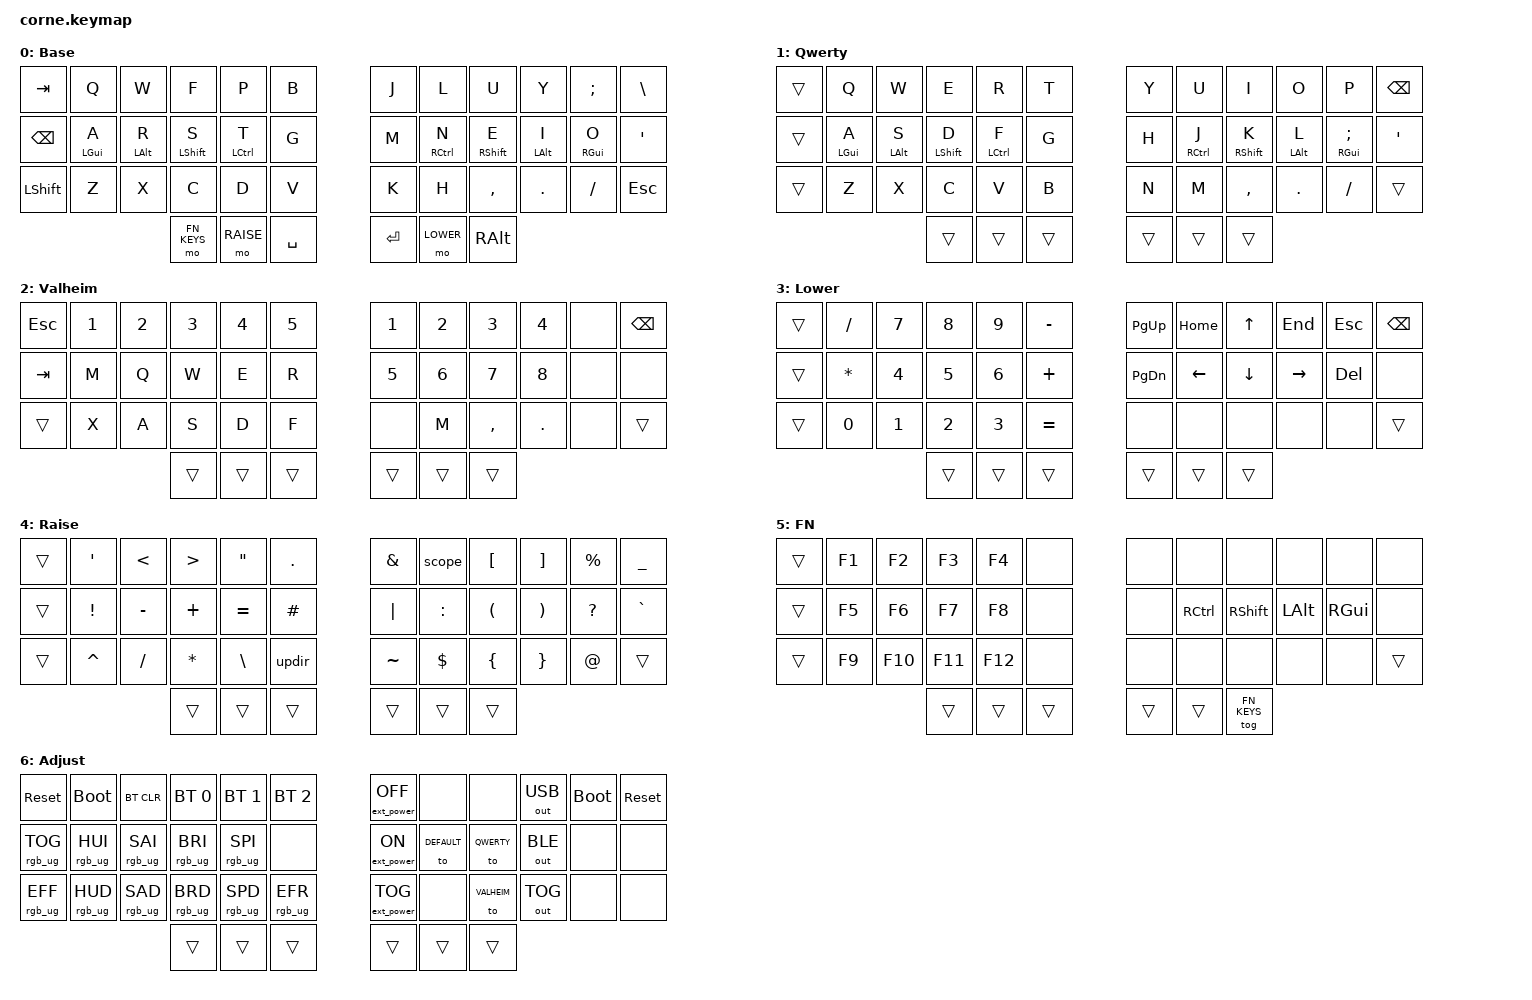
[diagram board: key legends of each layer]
/*
 * Copyright (c) 2020 The ZMK Contributors
 *
 * SPDX-License-Identifier: MIT
 */

#include <behaviors.dtsi>
#include <dt-bindings/zmk/keys.h>
#include <dt-bindings/zmk/bt.h>
#include <dt-bindings/zmk/rgb.h>
#include <dt-bindings/zmk/ext_power.h>
#include <dt-bindings/zmk/outputs.h>


/*
 * Temporarily here because nice nano v2 spi is not defined on ZMk Yet
 * Source: https://github.com/zmkfirmware/zmk/blob/main/app/boards/shields/corne/boards/nice_nano.overlay
 * GitHub Issue: https://github.com/zmkfirmware/zmk/issues/885
 */

// #include <dt-bindings/led/led.h>
// 
// &spi1 {
// 	compatible = "nordic,nrf-spim";
// 	/* Cannot be used together with i2c0. */
// 	status = "okay";
// 	mosi-pin = <6>;
// 	// Unused pins, needed for SPI definition, but not used by the ws2812 driver itself.
// 	sck-pin = <5>;
// 	miso-pin = <7>;
// 
// 	led_strip: ws2812@0 {
// 		compatible = "worldsemi,ws2812-spi";
// 		label = "SK6812mini";
// 
// 		/* SPI */
// 		reg = <0>; /* ignored, but necessary for SPI bindings */
// 		spi-max-frequency = <4000000>;
// 
// 		/* WS2812 */
// 		chain-length = <6>; /* There are per-key RGB, but the first 6 are underglow */
// 		spi-one-frame = <0x70>;
// 		spi-zero-frame = <0x40>;
// 
// 		color-mapping = <LED_COLOR_ID_GREEN LED_COLOR_ID_RED LED_COLOR_ID_BLUE>;
// 	};
// };
// 
// / {
// 	chosen {
// 		zmk,underglow = &led_strip;
// 	};
// };

/*
 * End of temmporary code
 */


#define DEFAULT 0
#define QWERTY  1
#define VALHEIM 2
#define LOWER   3
#define RAISE   4
#define FN_KEYS 5
#define ADJUST  6

// #define MO_TOG(layer) &mo_tog layer layer   // Macro to apply momentary-layer-on-hold/toggle-layer-on-tap to a specific layer

&caps_word {
    continue-list = <UNDERSCORE BACKSPACE DELETE>;
};

/ {
        combos {
                compatible = "zmk,combos";

                combo_caps {
                        timeout-ms = <30>;
                        key-positions = <15 20>;
                        bindings = <&caps_word>;
                };
        };

        macros {
                updir: updir {
                        compatible = "zmk,behavior-macro";
                        #binding-cells = <0>;
                        wait-ms = <30>;
                        tap-ms = <40>;
                        bindings = <&kp DOT &kp DOT &kp FSLH>;
                };
                scope: scope {
                        compatible = "zmk,behavior-macro";
                        #binding-cells = <0>;
                        wait-ms = <30>;
                        tap-ms = <40>;
                        bindings = <&kp COLON &kp COLON>;
                };
        };

        behaviors {
                hm: homerow_mods {
                        compatible = "zmk,behavior-hold-tap";
                        #binding-cells = <2>;
                        tapping-term-ms = <205>;
                        quick-tap-ms = <0>;
                        flavor = "tap-preferred";
                        bindings = <&kp>, <&kp>;
                };

                // kp_tog: behavior_kp_tog {
                //         compatible = "zmk,behavior-hold-tap";
                //         #binding-cells = <2>;
                //         tapping-term-ms = <200>;
                //         flavor = "hold-preferred";
                //         bindings = <&kp>, <&tog>;
                // };

                // mo_tog: behavior_mo_tog {
                //         compatible = "zmk,behavior-hold-tap";
                //         #binding-cells = <2>;
                //         flavor = "hold-preferred";
                //         tapping-term-ms = <200>;
                //         bindings = <&mo>, <&tog>;
                // };

        };

        keymap {
                compatible = "zmk,keymap";

                base {
// -----------------------------------------------------------------------------------------
// |  TAB |  Q  |  W  |  F  |  P  |  B  |   |  J  |  L   |  U  |  Y  |  ;  |  \   |
// | BSPC |  A  |  R  |  S  |  T  |  G  |   |  M  |  N   |  E  |  I  |  O  |  '   |
// | SHFT |  Z  |  X  |  C  |  D  |  V  |   |  K  |  H   |  ,  |  .  |  /  | ESC  |
//                   | CTRL | RSE | SPC |   | ENT | LWR  | RALT |
                        display-name = "Base";
                        bindings = <
   &kp TAB   &kp      Q &kp      W &kp        F &kp       P &kp B       &kp J   &kp       L  &kp        U &kp      Y &kp   SEMI &kp BSLH
   &kp BSPC  &hm LGUI A &hm LALT R &hm LSHIFT S &hm LCTRL T &kp G       &kp M   &hm RCTRL N  &hm RSHIFT E &hm LALT I &hm RGUI O &kp SQT
   &kp LSHFT &kp      Z &kp      X &kp        C &kp       D &kp V       &kp K   &kp       H  &kp    COMMA &kp    DOT &kp   FSLH &kp ESC
                                   &mo  FN_KEYS &mo   RAISE &kp SPACE   &kp RET &mo LOWER    &kp     RALT     
                        >;
                };

                qwerty {
// ----------------------------------------------------------------------------------------
// |      |  Q  |  W  |  E  |  R  |  T  |   |  Y  |  U  |  I  |  O  |  P  | BKSP |
// |      |  A  |  S  |  D  |  F  |  G  |   |  H  |  J  |  K  |  L  |  ;  |  '   |
// |      |  Z  |  X  |  C  |  V  |  B  |   |  N  |  M  |  ,  |  .  |  /  | ESC  |
//                    |     |     |     |   |     |     |     |
                        display-name = "Qwerty";
                        bindings = <
   &trans &kp Q      &kp W      &kp E        &kp R       &kp T   &kp Y &kp U       &kp I        &kp O      &kp P         &kp BSPC
   &trans &hm LGUI A &hm LALT S &hm LSHIFT D &hm LCTRL F &kp G   &kp H &hm RCTRL J &hm RSHIFT K &hm LALT L &hm RGUI SEMI &kp SQT
   &trans &kp Z      &kp X      &kp C        &kp V       &kp B   &kp N &kp M       &kp COMMA    &kp DOT    &kp FSLH      &trans
                   &trans &trans &trans   &trans &trans &trans
                        >;
                };

                valheim {
// -------------------------------------------------------------------------------
// | ESC  |  1  |  2  |  3  |  4  |  5  |   |  1  |  2  |  3  |  4  | --- | BKSP |
// | TAB  |  M  |  Q  |  W  |  E  |  R  |   |  5  |  6  |  7  |  8  | --- | ---  |
// |      |  X  |  A  |  S  |  D  |  F  |   | --- |  M  |  ,  |  .  | --- | ESC  |
//                    |     |     |     |   |     |     |     |
                        display-name = "Valheim";
                        bindings = <
   &kp ESC &kp N1 &kp N2 &kp N3 &kp N4 &kp N5   &kp N1 &kp N2  &kp N3     &kp N4  &none &kp BSPC
   &kp TAB &kp M  &kp Q  &kp W  &kp E  &kp R    &kp N5 &kp N6  &kp N7     &kp N8  &none &none
   &trans  &kp X  &kp A  &kp S  &kp D  &kp F    &none  &kp M   &kp COMMA  &kp DOT &none &trans
                   &trans &trans &trans   &trans &trans &trans
                        >;
                };

                lower {
// -----------------------------------------------------------------------------------------
// |      |  0  |  1  |  2  |  3  |  -  |   | PGUP | HOM |  UP  | END | ESC | --- |
// |      |  /  |  4  |  5  |  6  |  +  |   | PGDN | LFT | DOWN | RGT | DEL | --- |
// |      |  *  |  7  |  8  |  9  |  =  |   | ---  | --- | ---  | --- | --- |     |
//                    |     |     |     |   |      |     |      |
                        display-name = "Lower";
                        bindings = <
   &trans &kp FSLH &kp N7 &kp N8 &kp N9 &kp MINUS   &kp PG_UP &kp HOME &kp UP   &kp END   &kp ESC &kp BSPC
   &trans &kp STAR &kp N4 &kp N5 &kp N6 &kp PLUS    &kp PG_DN &kp LEFT &kp DOWN &kp RIGHT &kp DEL &none
   &trans &kp N0   &kp N1 &kp N2 &kp N3 &kp EQUAL   &none     &none    &none    &none     &none   &trans
                             &trans &trans &trans   &trans &trans &trans
                        >;
                };

                raise {
// -----------------------------------------------------------------------------------------
// |      |  '  |  <  |  >  |  "  |  .  |   |  &  | ::  |  [  |  ]  |  %  |  _  |
// |      |  !  |  -  |  +  |  =  |  #  |   | "|" |  :  |  (  |  )  |  ?  |  `  |
// |      |  ^  |  /  |  *  |  \  | ../ |   |  ~  |  $  |  {  |  }  |  @  |     |
//                    |     |     |     |   |     |     |     |
                        display-name = "Raise";
                        bindings = <
   &trans &kp SQT   &kp LT    &kp GT   &kp DQT   &kp DOT    &kp AMPS  &scope    &kp LBKT &kp RBKT &kp PRCNT &kp UNDER
   &trans &kp EXCL  &kp MINUS &kp PLUS &kp EQUAL &kp HASH   &kp PIPE  &kp COLON &kp LPAR &kp RPAR &kp QMARK &kp GRAVE
   &trans &kp CARET &kp FSLH  &kp STAR &kp BSLH  &updir     &kp TILDE &kp DLLR  &kp LBRC &kp RBRC &kp AT    &trans
                                     &trans &trans &trans   &trans &trans &trans
                        >;
                };

                fn {
// ------------------------------------------------------------------------------------
// |      |  F1  |  F2  |  F3  |  F4  | --- |   | --- | ---  | ---  | --- | --- | --- |
// |      |  F5  |  F6  |  F7  |  F8  | --- |   | --- | CTRL | SHFT | ALT | GUI | --- |
// |      |  F9  |  F10 |  F11 |  F12 | --- |   | --- | ---  | ---  | --- | --- |     |
//                        |    |      |     |   |     |      | TOG  |
                        display-name = "FN";
                        bindings = <
   &trans &kp F1 &kp F2  &kp F3  &kp F4  &none   &none  &none     &none      &none    &none    &none
   &trans &kp F5 &kp F6  &kp F7  &kp F8  &none   &none  &kp RCTRL &kp RSHIFT &kp LALT &kp RGUI &none
   &trans &kp F9 &kp F10 &kp F11 &kp F12 &none   &none  &none     &none      &none    &none    &trans
                          &trans &trans &trans   &trans &trans &tog FN_KEYS
                        >;
                };

                adjust {
// ---------------------------------------------------------------------------------------------------------------
// | RESET   | BOOTLDR |   ---   |   ---   |   ---   |   ---   |   | --- |  ---  |  ---  | --- | BOOTLDR | RESET |
// | RGB TGL | RGB HUI | RGB SAI | RGB BRI | RGB SPI |   ---   |   | --- | DEFLT | QWRTY | --- |   ---   |  ---  |
// | RGB EFF | RGB HUD | RGB SAD | RGB BRD | RGB SPD | RGB EFR |   | --- |  ---  | VLHEM | --- |   ---   |  ---  |
//                                           |     |     |     |   |      |     |     |
                        display-name = "Adjust";
                        bindings = <
   &sys_reset          &bootloader     &bt BT_CLR      &bt BT_SEL 0    &bt BT_SEL 1    &bt BT_SEL 2        &ext_power EP_OFF &none       &none       &out OUT_USB &bootloader &sys_reset
   &rgb_ug RGB_TOG     &rgb_ug RGB_HUI &rgb_ug RGB_SAI &rgb_ug RGB_BRI &rgb_ug RGB_SPI &none               &ext_power EP_ON  &to DEFAULT &to QWERTY  &out OUT_BLE &none       &none
   &rgb_ug RGB_EFF     &rgb_ug RGB_HUD &rgb_ug RGB_SAD &rgb_ug RGB_BRD &rgb_ug RGB_SPD &rgb_ug RGB_EFR     &ext_power EP_TOG &none       &to VALHEIM &out OUT_TOG &none       &none
                                                                                &trans &trans &trans   &trans &trans &trans
                        >;
                };
        };

        conditional_layers {
                compatible = "zmk,conditional-layers";
                tri_layer {
                        if-layers = <LOWER RAISE>;
                        then-layer = <ADJUST>;
                };
        };
};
